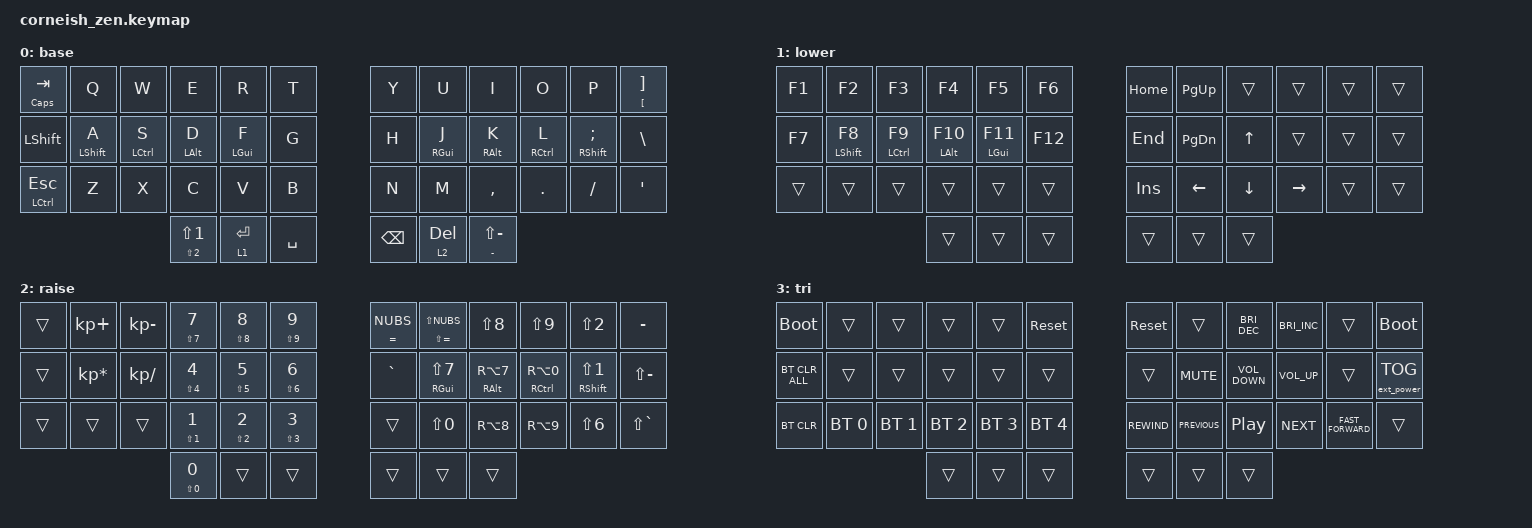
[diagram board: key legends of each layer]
#include <behaviors.dtsi>
#include <dt-bindings/zmk/bt.h>
#include <dt-bindings/zmk/ext_power.h>
#include <dt-bindings/zmk/keys.h>

/ {
    behaviors {
        hml: homewrow_mods_left {
            compatible = "zmk,behavior-hold-tap";
            label = "HOMEROW_MODS_LEFT_HAND";
            bindings = <&kp>, <&kp>;

            #binding-cells = <2>;
            tapping-term-ms = <280>;
            hold-trigger-key-positions = <6 7 8 9 10 11 18 19 20 21 22 23 30 31 32 33 34 35 40 41 39>;
            quick-tap-ms = <175>;
            require-prior-idle-ms = <150>;
            flavor = "balanced";
            hold-trigger-on-release;
        };

        hmr: homewrow_mods_right {
            compatible = "zmk,behavior-hold-tap";
            label = "HOMEROW_MODS_RIGHT_HAND";
            bindings = <&kp>, <&kp>;

            #binding-cells = <2>;
            tapping-term-ms = <280>;
            hold-trigger-key-positions = <0 1 2 3 4 5 12 13 14 15 16 17 24 25 26 27 28 29 36 37 38>;
            quick-tap-ms = <175>;
            require-prior-idle-ms = <150>;
            flavor = "balanced";
            hold-trigger-on-release;
        };
    };

    keymap {
        compatible = "zmk,keymap";

        base {
            bindings = <
&mt CAPSLOCK TAB         &kp Q              &kp W                &kp E                          &kp R            &kp T        &kp Y     &kp U             &kp I                &kp O                 &kp P                       &mt LEFT_BRACKET RIGHT_BRACKET
&kp LEFT_SHIFT           &hml LEFT_SHIFT A  &hml LEFT_CONTROL S  &hml LEFT_ALT D                &hml LEFT_GUI F  &kp G        &kp H     &hmr RIGHT_GUI J  &hmr RIGHT_ALT K     &hmr RIGHT_CONTROL L  &hmr RIGHT_SHIFT SEMICOLON  &kp BACKSLASH
&mt LEFT_CONTROL ESCAPE  &kp Z              &kp X                &kp C                          &kp V            &kp B        &kp N     &kp M             &kp COMMA            &kp DOT               &kp SLASH                   &kp SQT
                                                                 &mt LS(NUMBER_2) LS(NUMBER_1)  &lt 1 ENTER      &kp SPACE    &kp BSPC  &lt 2 DELETE      &mt MINUS LS(MINUS)
            >;
        };

        lower {
            bindings = <
&kp F1  &kp F2             &kp F3               &kp F4            &kp F5            &kp F6     &kp HOME    &kp PAGE_UP     &trans          &trans           &trans  &trans
&kp F7  &mt LEFT_SHIFT F8  &mt LEFT_CONTROL F9  &mt LEFT_ALT F10  &mt LEFT_GUI F11  &kp F12    &kp END     &kp PAGE_DOWN   &kp UP_ARROW    &trans           &trans  &trans
&trans  &trans             &trans               &trans            &trans            &trans     &kp INSERT  &kp LEFT_ARROW  &kp DOWN_ARROW  &kp RIGHT_ARROW  &trans  &trans
                                                &trans            &trans            &trans     &trans      &trans          &trans
            >;
        };

        raise {
            bindings = <
&trans  &kp KP_PLUS      &kp KP_MINUS   &mt LS(NUMBER_7) NUMBER_7  &mt LS(NUMBER_8) NUMBER_8  &mt LS(NUMBER_9) NUMBER_9    &mt EQUAL NUBS  &mt LS(EQUAL) LS(NUBS)      &kp LS(NUMBER_8)            &kp LS(NUMBER_9)                &kp LS(NUMBER_2)              &kp MINUS
&trans  &kp KP_MULTIPLY  &kp KP_DIVIDE  &mt LS(NUMBER_4) NUMBER_4  &mt LS(NUMBER_5) NUMBER_5  &mt LS(NUMBER_6) NUMBER_6    &kp GRAVE       &mt RIGHT_GUI LS(NUMBER_7)  &mt RIGHT_ALT RA(NUMBER_7)  &mt RIGHT_CONTROL RA(NUMBER_0)  &mt RIGHT_SHIFT LS(NUMBER_1)  &kp LS(MINUS)
&trans  &trans           &trans         &mt LS(NUMBER_1) NUMBER_1  &mt LS(NUMBER_2) NUMBER_2  &mt LS(NUMBER_3) NUMBER_3    &trans          &kp LS(NUMBER_0)            &kp RA(NUMBER_8)            &kp RA(NUMBER_9)                &kp LS(NUMBER_6)              &kp LS(GRAVE)
                                        &mt LS(NUMBER_0) NUMBER_0  &trans                     &trans                       &trans          &trans                      &trans
            >;
        };

        tri {
            bindings = <
&bootloader     &trans        &trans        &trans        &trans        &sys_reset      &sys_reset    &trans          &kp C_BRIGHTNESS_DEC  &kp C_BRIGHTNESS_INC  &trans              &bootloader
&bt BT_CLR_ALL  &trans        &trans        &trans        &trans        &trans          &trans        &kp C_MUTE      &kp C_VOLUME_DOWN     &kp C_VOLUME_UP       &trans              &ext_power EP_TOG
&bt BT_CLR      &bt BT_SEL 0  &bt BT_SEL 1  &bt BT_SEL 2  &bt BT_SEL 3  &bt BT_SEL 4    &kp C_REWIND  &kp C_PREVIOUS  &kp C_PLAY_PAUSE      &kp C_NEXT            &kp C_FAST_FORWARD  &trans
                                            &trans        &trans        &trans          &trans        &trans          &trans
            >;
        };
    };

    conditional_layers {
        compatible = "zmk,conditional-layers";

        tri {
            if-layers = <1 2>;
            then-layer = <3>;
        };
    };
};
